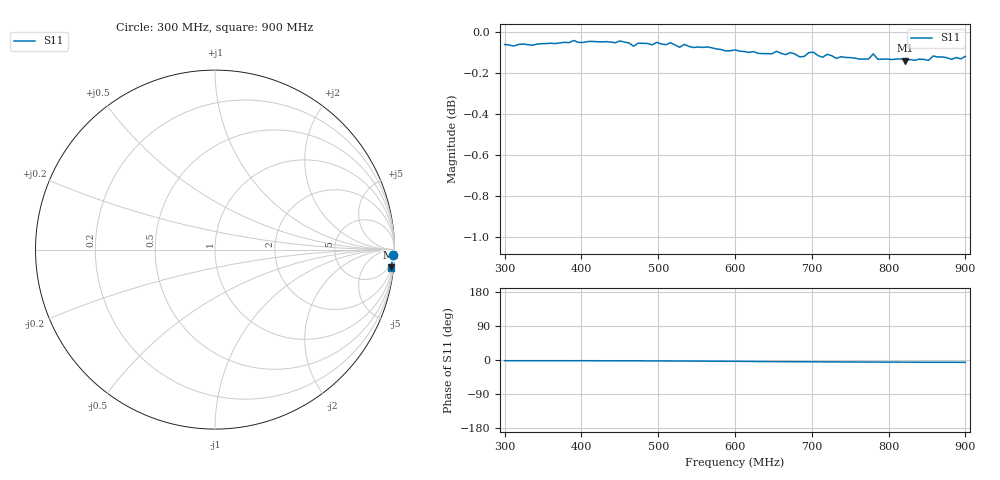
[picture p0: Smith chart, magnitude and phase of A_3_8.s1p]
# HZ S RI R 50
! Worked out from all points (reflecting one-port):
!   101 points, 300 MHz to 900 MHz, reference 50 ohm
!   lowest |S11| = -0.1 dB at 822 MHz (marker M1), VSWR 123.18, Z = 160 - j977 ohm
!   phase of S11 starts at -2 deg and turns -4 deg over the sweep
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3e8  0.9923 -0.0326
3.78e8  0.9935 -0.0332
4.02e8  0.9934 -0.0327
4.5e8  0.9941 -0.0364
4.62e8  0.9929 -0.0375
4.68e8  0.9912 -0.0349
4.74e8  0.9928 -0.0385
4.98e8  0.9931 -0.0413
5.28e8  0.9902 -0.0462
5.34e8  0.9918 -0.0464
6e8  0.988 -0.0604
6.36e8  0.9852 -0.0705
6.54e8  0.9862 -0.075
6.78e8  0.9843 -0.0789
6.9e8  0.9829 -0.0806
7.02e8  0.9851 -0.0816
7.14e8  0.9821 -0.0848
7.2e8  0.9836 -0.0856
7.5e8  0.9814 -0.0896
7.74e8  0.9804 -0.0926
7.8e8  0.9832 -0.0935
7.86e8  0.9802 -0.0938
8.22e8  0.979 -0.0978
8.28e8  0.9796 -0.0979
8.46e8  0.9793 -0.1016
8.76e8  0.9802 -0.1016
8.94e8  0.9792 -0.1056
9e8  0.9807 -0.1045
